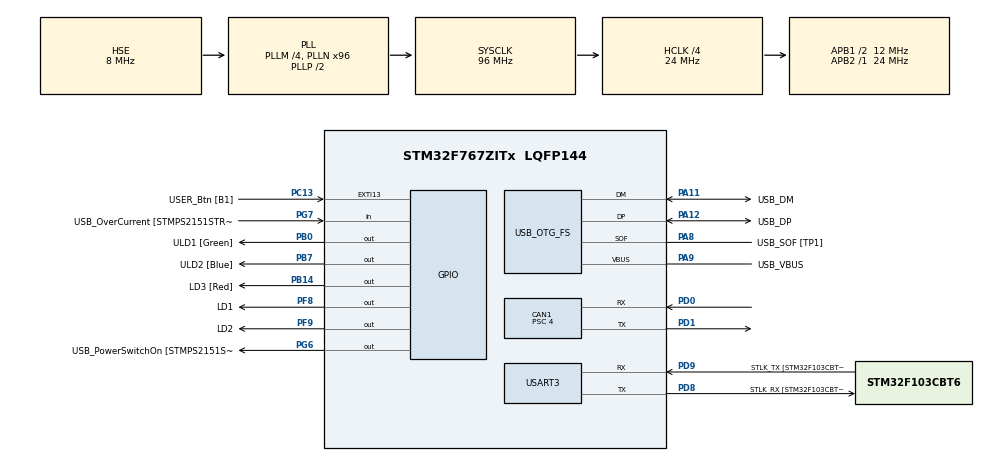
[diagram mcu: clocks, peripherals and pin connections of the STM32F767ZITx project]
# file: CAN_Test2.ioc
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CAN1.BS1=CAN_BS1_2TQ
CAN1.BS2=CAN_BS2_3TQ
CAN1.CalculateBaudRate=500000
CAN1.CalculateTimeBit=2000
CAN1.CalculateTimeQuantum=333.3333333333333
CAN1.Prescaler=4
CAN1.SJW=CAN_SJW_2TQ
Mcu.Family=STM32F7
Mcu.Name=STM32F767ZITx
Mcu.Package=LQFP144
NVIC.CAN1_RX0_IRQn=true\:0\:0\:false\:false\:true\:true\:true\:true
NVIC.PriorityGroup=NVIC_PRIORITYGROUP_4
PA1.GPIO_Label=RMII_REF_CLK [LAN8742A-CZ-TR_REFCLK0]
PA1.Signal=ETH_REF_CLK
PA10.GPIO_Label=USB_ID
PA10.Signal=USB_OTG_FS_ID
PA11.GPIO_Label=USB_DM
PA11.Mode=Device_Only
PA11.Signal=USB_OTG_FS_DM
PA12.GPIO_Label=USB_DP
PA12.Mode=Device_Only
PA12.Signal=USB_OTG_FS_DP
PA13.GPIO_Label=TMS
PA13.Mode=Serial_Wire
PA13.Signal=SYS_JTMS-SWDIO
PA14.GPIO_Label=TCK
PA14.Mode=Serial_Wire
PA14.Signal=SYS_JTCK-SWCLK
PA2.GPIO_Label=RMII_MDIO [LAN8742A-CZ-TR_MDIO]
PA2.Signal=ETH_MDIO
PA7.GPIO_Label=RMII_CRS_DV [LAN8742A-CZ-TR_CRS_DV]
PA7.Signal=ETH_CRS_DV
PA8.GPIO_Label=USB_SOF [TP1]
PA8.Mode=Activate_SOF_FS
PA8.Signal=USB_OTG_FS_SOF
PA9.GPIO_Label=USB_VBUS
PA9.Mode=Activate_VBUS
PA9.Signal=USB_OTG_FS_VBUS
PB0.GPIO_Label=ULD1 [Green]
PB0.Signal=GPIO_Output
PB13.GPIO_Label=RMII_TXD1 [LAN8742A-CZ-TR_TXD1]
PB13.Signal=ETH_TXD1
PB14.GPIO_Label=LD3 [Red]
PB14.Signal=GPIO_Output
PB3.GPIO_Label=SWO
PB3.Signal=SYS_JTDO-SWO
PB7.GPIO_Label=ULD2 [Blue]
PB7.Signal=GPIO_Output
PC1.GPIO_Label=RMII_MDC [LAN8742A-CZ-TR_MDC]
PC1.Signal=ETH_MDC
PC13.GPIO_Label=USER_Btn [B1]
PC13.Signal=GPXTI13
PC14/OSC32_IN.Mode=LSE-External-Oscillator
PC14/OSC32_IN.Signal=RCC_OSC32_IN
PC15/OSC32_OUT.Mode=LSE-External-Oscillator
PC15/OSC32_OUT.Signal=RCC_OSC32_OUT
PC4.GPIO_Label=RMII_RXD0 [LAN8742A-CZ-TR_RXD0]
PC4.Signal=ETH_RXD0
PC5.GPIO_Label=RMII_RXD1 [LAN8742A-CZ-TR_RXD1]
PC5.Signal=ETH_RXD1
PD0.GPIO_Mode=GPIO_MODE_AF_PP
PD0.GPIO_PuPd=GPIO_PULLUP
PD0.Mode=CAN_Activate
PD0.Signal=CAN1_RX
PD1.Mode=CAN_Activate
PD1.Signal=CAN1_TX
PD8.GPIO_Label=STLK_RX [STM32F103CBT6_PA3]
PD8.Mode=Asynchronous
PD8.Signal=USART3_TX
PD9.GPIO_Label=STLK_TX [STM32F103CBT6_PA2]
PD9.Mode=Asynchronous
PD9.Signal=USART3_RX
PF8.GPIO_Label=LD1
PF8.Signal=GPIO_Output
PF9.GPIO_Label=LD2
PF9.Signal=GPIO_Output
PG11.GPIO_Label=RMII_TX_EN [LAN8742A-CZ-TR_TXEN]
PG11.Signal=ETH_TX_EN
PG13.GPIO_Label=RMII_TXD0 [LAN8742A-CZ-TR_TXD0]
PG13.Signal=ETH_TXD0
PG6.GPIO_Label=USB_PowerSwitchOn [STMPS2151STR_EN]
PG6.Signal=GPIO_Output
PG7.GPIO_Label=USB_OverCurrent [STMPS2151STR_FAULT]
PG7.Signal=GPIO_Input
PH0/OSC_IN.GPIO_Label=MCO [STM32F103CBT6_PA8]
PH0/OSC_IN.Mode=HSE-External-Oscillator
PH0/OSC_IN.Signal=RCC_OSC_IN
PH1/OSC_OUT.Mode=HSE-External-Oscillator
PH1/OSC_OUT.Signal=RCC_OSC_OUT
ProjectManager.HeapSize=0x200
ProjectManager.StackSize=0x400
ProjectManager.TargetToolchain=STM32CubeIDE
RCC.48MHZClocksFreq_Value=24000000
RCC.AHBCLKDivider=RCC_SYSCLK_DIV4
RCC.AHBFreq_Value=24000000
RCC.APB1CLKDivider=RCC_HCLK_DIV2
RCC.APB1Freq_Value=12000000
RCC.APB1TimFreq_Value=24000000
RCC.APB2Freq_Value=24000000
RCC.APB2TimFreq_Value=24000000
RCC.CortexFreq_Value=24000000
RCC.HCLKFreq_Value=24000000
RCC.HSE_VALUE=8000000
RCC.HSI_VALUE=16000000
RCC.PLLM=4
RCC.PLLMUL=RCC_PLL_MUL9
RCC.PLLN=96
RCC.PLLQ=4
RCC.PRESCALERUSB=RCC_USBCLKSOURCE_PLL_DIV1_5
RCC.SYSCLKFreq_VALUE=96000000
RCC.SYSCLKSource=RCC_SYSCLKSOURCE_PLLCLK
RCC.SYSCLKSourceVirtual=RCC_SYSCLKSOURCE_PLLCLK
RCC.USBFreq_Value=48000000
RCC.VCOOutputFreq_Value=192000000
USART3.VirtualMode-Asynchronous=VM_ASYNC
USB_OTG_FS.VirtualMode=Device_Only
board=NUCLEO-F767ZI

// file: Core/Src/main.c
/* USER CODE BEGIN Header */
/**
  ******************************************************************************
  * @file           : main.c
  * @brief          : Main program body
  ******************************************************************************
  * @attention
  *
  * Copyright (c) 2024 STMicroelectronics.
  * All rights reserved.
  *
  * This software is licensed under terms that can be found in the LICENSE file
  * in the root directory of this software component.
  * If no LICENSE file comes with this software, it is provided AS-IS.
  *
  ******************************************************************************
  */
/* USER CODE END Header */
#include "main.h"

/* USER CODE BEGIN Includes */
#include <sys_can_recieve.h>
#include "can.h"
/* USER CODE END Includes */

CAN_HandleTypeDef hcan1;

UART_HandleTypeDef huart3;

PCD_HandleTypeDef hpcd_USB_OTG_FS;

/* USER CODE BEGIN PV */
CAN_FilterTypeDef canfilterconfig;

/* USER CODE END PV */

void SystemClock_Config(void);
static void MX_GPIO_Init(void);
static void MX_USART3_UART_Init(void);
static void MX_USB_OTG_FS_PCD_Init(void);
static void MX_CAN1_Init(void);

/* USER CODE BEGIN 0 */

void HAL_CAN_RxFifo0MsgPendingCallback(CAN_HandleTypeDef *hcan) {
	can_recieve_message(hcan);
}

/* USER CODE END 0 */

int main(void)
{

  /* MCU Configuration--------------------------------------------------------*/

  /* Reset of all peripherals, Initializes the Flash interface and the Systick. */
  HAL_Init();

  /* Configure the system clock */
  SystemClock_Config();

  /* Initialize all configured peripherals */
  MX_GPIO_Init();
  MX_USART3_UART_Init();
  MX_USB_OTG_FS_PCD_Init();
  MX_CAN1_Init();
  /* USER CODE BEGIN 2 */

  HAL_CAN_Start(&hcan1);

  HAL_CAN_ActivateNotification(&hcan1, CAN_IT_RX_FIFO0_MSG_PENDING);

  /* USER CODE END 2 */

  /* Infinite loop */
  while (1)
  {

    /* USER CODE BEGIN 3 */
	can_recieve_stale();

  }
  /* USER CODE END 3 */
}

void SystemClock_Config(void)
{
  RCC_OscInitTypeDef RCC_OscInitStruct = {0};
  RCC_ClkInitTypeDef RCC_ClkInitStruct = {0};

  /** Configure LSE Drive Capability
  */
  HAL_PWR_EnableBkUpAccess();

  /** Configure the main internal regulator output voltage
  */
  __HAL_RCC_PWR_CLK_ENABLE();
  __HAL_PWR_VOLTAGESCALING_CONFIG(PWR_REGULATOR_VOLTAGE_SCALE3);

  /** Initializes the RCC Oscillators according to the specified parameters
  * in the RCC_OscInitTypeDef structure.
  */
  RCC_OscInitStruct.OscillatorType = RCC_OSCILLATORTYPE_HSE;
  RCC_OscInitStruct.HSEState = RCC_HSE_ON;
  RCC_OscInitStruct.PLL.PLLState = RCC_PLL_ON;
  RCC_OscInitStruct.PLL.PLLSource = RCC_PLLSOURCE_HSE;
  RCC_OscInitStruct.PLL.PLLM = 4;
  RCC_OscInitStruct.PLL.PLLN = 96;
  RCC_OscInitStruct.PLL.PLLP = RCC_PLLP_DIV2;
  RCC_OscInitStruct.PLL.PLLQ = 4;
  RCC_OscInitStruct.PLL.PLLR = 2;
  if (HAL_RCC_OscConfig(&RCC_OscInitStruct) != HAL_OK)
  {
    Error_Handler();
  }

  /** Initializes the CPU, AHB and APB buses clocks
  */
  RCC_ClkInitStruct.ClockType = RCC_CLOCKTYPE_HCLK|RCC_CLOCKTYPE_SYSCLK
                              |RCC_CLOCKTYPE_PCLK1|RCC_CLOCKTYPE_PCLK2;
  RCC_ClkInitStruct.SYSCLKSource = RCC_SYSCLKSOURCE_PLLCLK;
  RCC_ClkInitStruct.AHBCLKDivider = RCC_SYSCLK_DIV4;
  RCC_ClkInitStruct.APB1CLKDivider = RCC_HCLK_DIV2;
  RCC_ClkInitStruct.APB2CLKDivider = RCC_HCLK_DIV1;

  if (HAL_RCC_ClockConfig(&RCC_ClkInitStruct, FLASH_LATENCY_0) != HAL_OK)
  {
    Error_Handler();
  }
}

static void MX_CAN1_Init(void)
{

  hcan1.Instance = CAN1;
  hcan1.Init.Prescaler = 4;
  hcan1.Init.Mode = CAN_MODE_NORMAL;
  hcan1.Init.SyncJumpWidth = CAN_SJW_2TQ;
  hcan1.Init.TimeSeg1 = CAN_BS1_2TQ;
  hcan1.Init.TimeSeg2 = CAN_BS2_3TQ;
  hcan1.Init.TimeTriggeredMode = DISABLE;
  hcan1.Init.AutoBusOff = DISABLE;
  hcan1.Init.AutoWakeUp = DISABLE;
  hcan1.Init.AutoRetransmission = DISABLE;
  hcan1.Init.ReceiveFifoLocked = DISABLE;
  hcan1.Init.TransmitFifoPriority = DISABLE;
  if (HAL_CAN_Init(&hcan1) != HAL_OK)
  {
    Error_Handler();
  }
  /* USER CODE BEGIN CAN1_Init 2 */
  CAN_FilterTypeDef canfilterconfig;

      canfilterconfig.FilterActivation = CAN_FILTER_ENABLE;
      canfilterconfig.FilterBank = 18;  // which filter bank to use from the assigned ones
      canfilterconfig.FilterFIFOAssignment = CAN_FILTER_FIFO0;
      canfilterconfig.FilterIdHigh = 0x001<<5;
      canfilterconfig.FilterIdLow = 0;
      canfilterconfig.FilterMaskIdHigh = 0x001<<5;
      canfilterconfig.FilterMaskIdLow = 0x0000;
      canfilterconfig.FilterMode = CAN_FILTERMODE_IDMASK;
      canfilterconfig.FilterScale = CAN_FILTERSCALE_32BIT;
      canfilterconfig.SlaveStartFilterBank = 20;  // how many filters to assign to the CAN1 (master can)

      HAL_CAN_ConfigFilter(&hcan1, &canfilterconfig);

  /* USER CODE END CAN1_Init 2 */

}

static void MX_USART3_UART_Init(void)
{

  huart3.Instance = USART3;
  huart3.Init.BaudRate = 115200;
  huart3.Init.WordLength = UART_WORDLENGTH_8B;
  huart3.Init.StopBits = UART_STOPBITS_1;
  huart3.Init.Parity = UART_PARITY_NONE;
  huart3.Init.Mode = UART_MODE_TX_RX;
  huart3.Init.HwFlowCtl = UART_HWCONTROL_NONE;
  huart3.Init.OverSampling = UART_OVERSAMPLING_16;
  huart3.Init.OneBitSampling = UART_ONE_BIT_SAMPLE_DISABLE;
  huart3.AdvancedInit.AdvFeatureInit = UART_ADVFEATURE_NO_INIT;
  if (HAL_UART_Init(&huart3) != HAL_OK)
  {
    Error_Handler();
  }

}

static void MX_USB_OTG_FS_PCD_Init(void)
{

  hpcd_USB_OTG_FS.Instance = USB_OTG_FS;
  hpcd_USB_OTG_FS.Init.dev_endpoints = 6;
  hpcd_USB_OTG_FS.Init.speed = PCD_SPEED_FULL;
  hpcd_USB_OTG_FS.Init.dma_enable = DISABLE;
  hpcd_USB_OTG_FS.Init.phy_itface = PCD_PHY_EMBEDDED;
  hpcd_USB_OTG_FS.Init.Sof_enable = ENABLE;
  hpcd_USB_OTG_FS.Init.low_power_enable = DISABLE;
  hpcd_USB_OTG_FS.Init.lpm_enable = DISABLE;
  hpcd_USB_OTG_FS.Init.vbus_sensing_enable = ENABLE;
  hpcd_USB_OTG_FS.Init.use_dedicated_ep1 = DISABLE;
  if (HAL_PCD_Init(&hpcd_USB_OTG_FS) != HAL_OK)
  {
    Error_Handler();
  }

}

static void MX_GPIO_Init(void)
{
  GPIO_InitTypeDef GPIO_InitStruct = {0};

  /* GPIO Ports Clock Enable */
  __HAL_RCC_GPIOC_CLK_ENABLE();
  __HAL_RCC_GPIOF_CLK_ENABLE();
  __HAL_RCC_GPIOH_CLK_ENABLE();
  __HAL_RCC_GPIOA_CLK_ENABLE();
  __HAL_RCC_GPIOB_CLK_ENABLE();
  __HAL_RCC_GPIOD_CLK_ENABLE();
  __HAL_RCC_GPIOG_CLK_ENABLE();

  /*Configure GPIO pin Output Level */
  HAL_GPIO_WritePin(GPIOF, LD1_Pin|LD2_Pin, GPIO_PIN_RESET);

  /*Configure GPIO pin Output Level */
  HAL_GPIO_WritePin(GPIOB, ULD1_Pin|LD3_Pin|ULD2_Pin, GPIO_PIN_RESET);

  /*Configure GPIO pin Output Level */
  HAL_GPIO_WritePin(USB_PowerSwitchOn_GPIO_Port, USB_PowerSwitchOn_Pin, GPIO_PIN_RESET);

  /*Configure GPIO pin : USER_Btn_Pin */
  GPIO_InitStruct.Pin = USER_Btn_Pin;
  GPIO_InitStruct.Mode = GPIO_MODE_IT_RISING;
  GPIO_InitStruct.Pull = GPIO_NOPULL;
  HAL_GPIO_Init(USER_Btn_GPIO_Port, &GPIO_InitStruct);

  /*Configure GPIO pins : LD1_Pin LD2_Pin */
  GPIO_InitStruct.Pin = LD1_Pin|LD2_Pin;
  GPIO_InitStruct.Mode = GPIO_MODE_OUTPUT_PP;
  GPIO_InitStruct.Pull = GPIO_NOPULL;
  GPIO_InitStruct.Speed = GPIO_SPEED_FREQ_LOW;
  HAL_GPIO_Init(GPIOF, &GPIO_InitStruct);

  /*Configure GPIO pins : RMII_MDC_Pin RMII_RXD0_Pin RMII_RXD1_Pin */
  GPIO_InitStruct.Pin = RMII_MDC_Pin|RMII_RXD0_Pin|RMII_RXD1_Pin;
  GPIO_InitStruct.Mode = GPIO_MODE_AF_PP;
  GPIO_InitStruct.Pull = GPIO_NOPULL;
  GPIO_InitStruct.Speed = GPIO_SPEED_FREQ_VERY_HIGH;
  GPIO_InitStruct.Alternate = GPIO_AF11_ETH;
  HAL_GPIO_Init(GPIOC, &GPIO_InitStruct);

  /*Configure GPIO pins : RMII_REF_CLK_Pin RMII_MDIO_Pin RMII_CRS_DV_Pin */
  GPIO_InitStruct.Pin = RMII_REF_CLK_Pin|RMII_MDIO_Pin|RMII_CRS_DV_Pin;
  GPIO_InitStruct.Mode = GPIO_MODE_AF_PP;
  GPIO_InitStruct.Pull = GPIO_NOPULL;
  GPIO_InitStruct.Speed = GPIO_SPEED_FREQ_VERY_HIGH;
  GPIO_InitStruct.Alternate = GPIO_AF11_ETH;
  HAL_GPIO_Init(GPIOA, &GPIO_InitStruct);

  /*Configure GPIO pins : ULD1_Pin LD3_Pin ULD2_Pin */
  GPIO_InitStruct.Pin = ULD1_Pin|LD3_Pin|ULD2_Pin;
  GPIO_InitStruct.Mode = GPIO_MODE_OUTPUT_PP;
  GPIO_InitStruct.Pull = GPIO_NOPULL;
  GPIO_InitStruct.Speed = GPIO_SPEED_FREQ_LOW;
  HAL_GPIO_Init(GPIOB, &GPIO_InitStruct);

  /*Configure GPIO pin : RMII_TXD1_Pin */
  GPIO_InitStruct.Pin = RMII_TXD1_Pin;
  GPIO_InitStruct.Mode = GPIO_MODE_AF_PP;
  GPIO_InitStruct.Pull = GPIO_NOPULL;
  GPIO_InitStruct.Speed = GPIO_SPEED_FREQ_VERY_HIGH;
  GPIO_InitStruct.Alternate = GPIO_AF11_ETH;
  HAL_GPIO_Init(RMII_TXD1_GPIO_Port, &GPIO_InitStruct);

  /*Configure GPIO pin : USB_PowerSwitchOn_Pin */
  GPIO_InitStruct.Pin = USB_PowerSwitchOn_Pin;
  GPIO_InitStruct.Mode = GPIO_MODE_OUTPUT_PP;
  GPIO_InitStruct.Pull = GPIO_NOPULL;
  GPIO_InitStruct.Speed = GPIO_SPEED_FREQ_LOW;
  HAL_GPIO_Init(USB_PowerSwitchOn_GPIO_Port, &GPIO_InitStruct);

  /*Configure GPIO pin : USB_OverCurrent_Pin */
  GPIO_InitStruct.Pin = USB_OverCurrent_Pin;
  GPIO_InitStruct.Mode = GPIO_MODE_INPUT;
  GPIO_InitStruct.Pull = GPIO_NOPULL;
  HAL_GPIO_Init(USB_OverCurrent_GPIO_Port, &GPIO_InitStruct);

  /*Configure GPIO pins : RMII_TX_EN_Pin RMII_TXD0_Pin */
  GPIO_InitStruct.Pin = RMII_TX_EN_Pin|RMII_TXD0_Pin;
  GPIO_InitStruct.Mode = GPIO_MODE_AF_PP;
  GPIO_InitStruct.Pull = GPIO_NOPULL;
  GPIO_InitStruct.Speed = GPIO_SPEED_FREQ_VERY_HIGH;
  GPIO_InitStruct.Alternate = GPIO_AF11_ETH;
  HAL_GPIO_Init(GPIOG, &GPIO_InitStruct);

}

void Error_Handler(void)
{
  __disable_irq();
  while (1)
  {
  }
}
